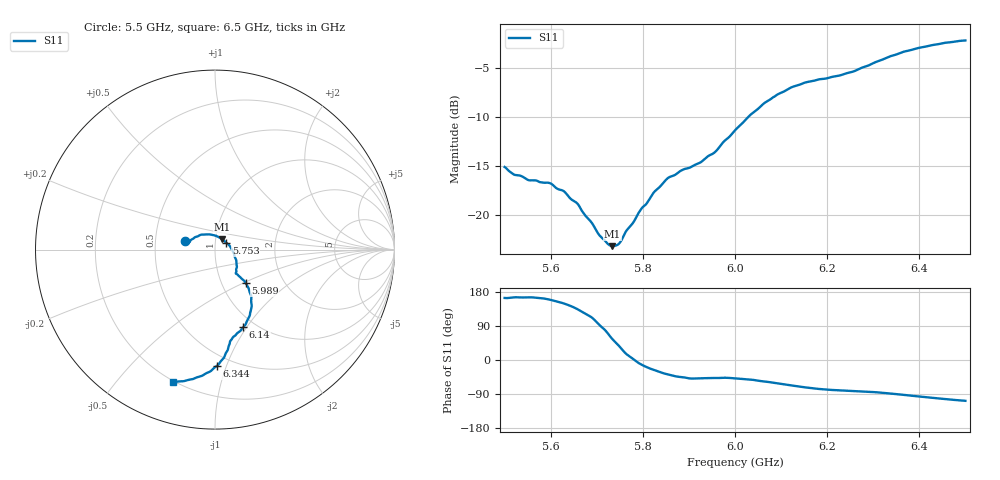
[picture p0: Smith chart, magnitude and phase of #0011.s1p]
#  HZ  S  DB  R  50.00
! Rohde & Schwarz ZVA24 4Ports - Version 3.60 - 1145.1110k28 SN: 101513
! Date: 2019-08-26 14:43:36
! Measurement: S33
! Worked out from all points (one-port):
!   801 points, 5.5 GHz to 6.5 GHz, reference 50 ohm
!   lowest |S11| = -23.1 dB at 5.734 GHz (marker M1), VSWR 1.15, Z = 53.8 + j6.2 ohm
!   |S11| at or under -10 dB: start of sweep to 6.029 GHz
!   S11 on the Smith chart (normalised r, x): 5.5 GHz: 0.71, +0.07; 5.753 GHz: 1.13, +0.09; 5.989 GHz: 1.30, -0.51; 6.14 GHz: 0.88, -0.96; 6.344 GHz: 0.41, -0.92; 6.5 GHz: 0.19, -0.71
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5.5e9  -15.09 163.8
5.52e9  -15.85 165.2
5.5575e9  -16.45 165.5
5.5975e9  -16.72 159.4
5.625e9  -17.46 150.6
5.6575e9  -18.78 134.5
5.68875e9  -20.73 112.5
5.7075e9  -22.11 90.4
5.73375e9  -23.13 55.3
5.75e9  -22.78 34.7
5.7525e9  -22.61 31.1
5.82375e9  -17.68 -25.8
5.85375e9  -16.23 -37.7
5.875e9  -15.71 -43.9
5.92625e9  -14.59 -48.0
5.95625e9  -13.59 -47.5
5.98875e9  -11.98 -47.4
6e9  -11.36 -48.3
6.06625e9  -8.52 -57.0
6.125e9  -6.95 -67.6
6.14e9  -6.74 -70.2
6.2025e9  -6.05 -78.4
6.25e9  -5.48 -81.2
6.30625e9  -4.42 -85.1
6.34375e9  -3.75 -89.2
6.375e9  -3.29 -93.1
6.4275e9  -2.71 -99.6
6.5e9  -2.24 -107.7
